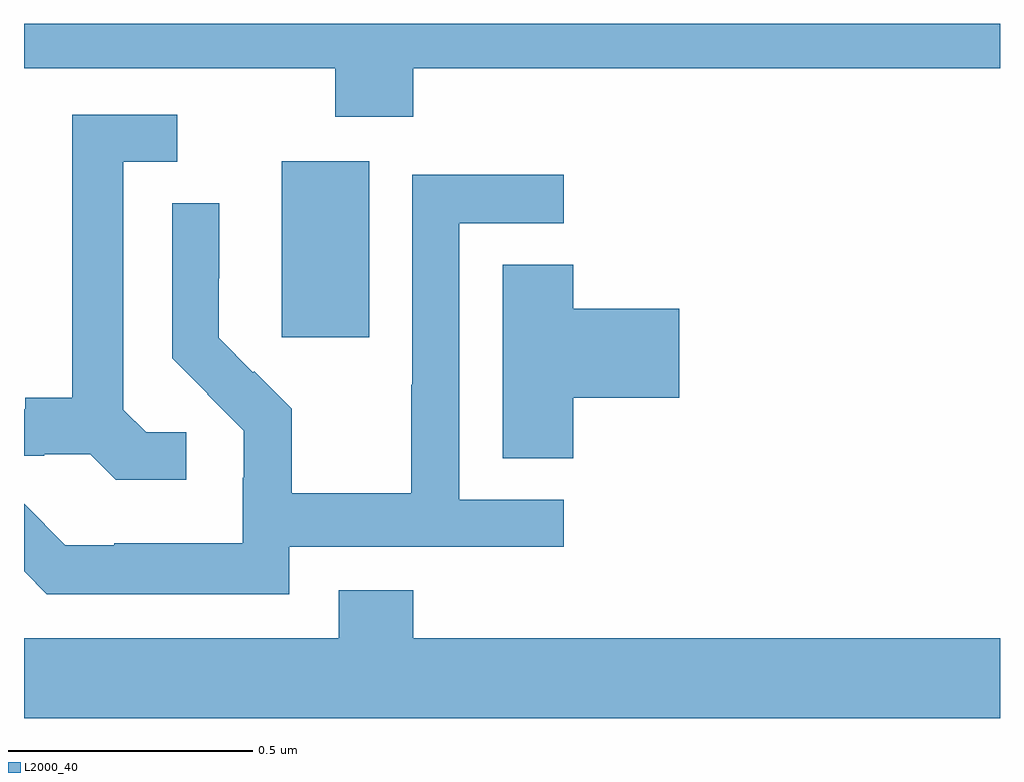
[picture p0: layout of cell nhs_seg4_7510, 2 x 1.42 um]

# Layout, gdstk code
import gdstk
lib = gdstk.Library(unit=1e-6, precision=1e-09)
def R(c, l, rs):  # rectangles x0, y0, x1, y1
    for r in rs: c.add(gdstk.rectangle(r[:2], r[2:], *l))
def P(c, l, *ps):  # polygons
    for p in ps: c.add(gdstk.Polygon(p, *l))
L2000_40 = (2000, 40)

nhs_seg4_7510 = lib.new_cell('nhs_seg4_7510')
R(nhs_seg4_7510, L2000_40, [(203.528,808.257,203.707,808.618)])
P(nhs_seg4_7510, L2000_40, [(203.798,808.808),(205,808.808),(205,808.9),(203,808.9),(203,808.808),(203.638,808.808),(203.638,808.709),(203.798,808.709)],
  [(203.332,808.062),(203.25,808.062),(203.203,808.109),(203.203,808.617),(203.314,808.617),(203.314,808.713),(203.099,808.713),(203.099,808.133),(203.003,808.133),(203.003,808.11),(203,808.11),(203,808.014),(203.042,808.014),(203.042,808.017),(203.136,808.017),(203.188,807.965),(203.332,807.965)],
  [(203.544,807.828),(204.106,807.828),(204.106,807.924),(203.892,807.924),(203.892,808.491),(204.106,808.491),(204.106,808.59),(203.796,808.59),(203.796,808.16),(203.794,808.16),(203.794,807.937),(203.549,807.937),(203.549,808.111),(203.472,808.188),(203.469,808.185),(203.399,808.256),(203.399,808.378),(203.4,808.378),(203.4,808.532),(203.304,808.532),(203.304,808.214),(203.377,808.141),(203.376,808.14),(203.45,808.066),(203.45,807.969),(203.448,807.969),(203.448,807.835),(203.185,807.835),(203.185,807.831),(203.085,807.831),(203,807.916),(203,807.778),(203.047,807.731),(203.544,807.731)],
  [(204.125,808.133),(204.343,808.133),(204.343,808.316),(204.125,808.316),(204.125,808.406),(203.981,808.406),(203.981,808.009),(204.125,808.009)],
  [(205,807.64),(203.798,807.64),(203.798,807.739),(203.645,807.739),(203.645,807.64),(203,807.64),(203,807.476),(205,807.476)])

lib.write_gds('nhs_seg4_7510.gds')
